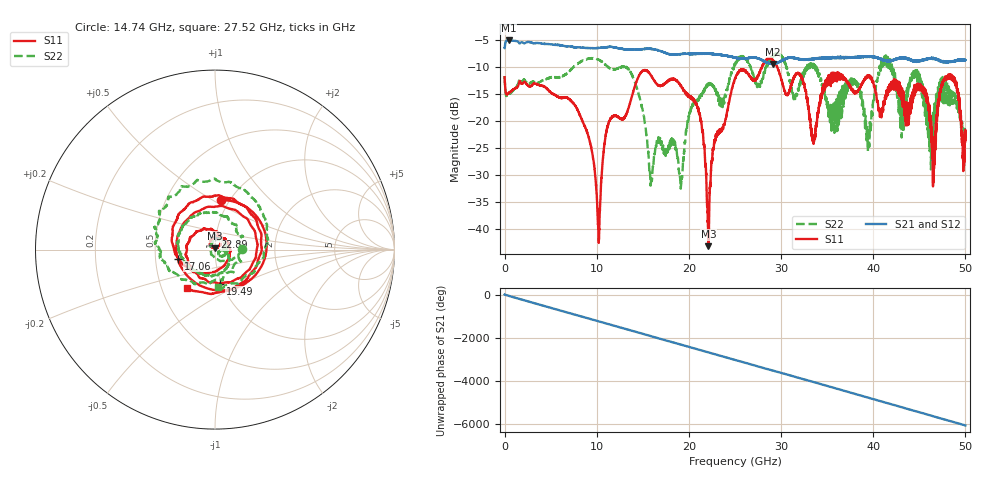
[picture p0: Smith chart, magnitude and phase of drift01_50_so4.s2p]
!Created with skrf (http://scikit-rf.org).
# Hz S RI R 50.0
!freq ReS11 ImS11 ReS21 ImS21 ReS12 ImS12 ReS22 ImS22
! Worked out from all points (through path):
!   10001 points, 300 kHz to 50 GHz, reference 50 ohm
!   highest |S21| = -5.06 dB at 425.3 MHz (marker M1); lowest = -9.4 dB at 29.08 GHz (marker M2)
!   group delay of S21, straight-line fit = 336 ps
!   lowest |S11| = -43.2 dB at 22.12 GHz (marker M3), VSWR 1.01, Z = 49.8 + j0.646 ohm
!   |S11| at or under -10 dB: start of sweep to 27.92 GHz; 29.59 GHz to end of sweep
!   |S22| runs from -32.5 to -7.4 dB; largest |S21 - S12| = 0.013
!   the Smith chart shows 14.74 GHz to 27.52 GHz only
!   S11 on the Smith chart (normalised r, x): 14.74 GHz: 0.92, +0.55; 17.06 GHz: 0.66, -0.07; 19.49 GHz: 0.98, -0.39; 22.89 GHz: 0.99, +0.14; 27.52 GHz: 0.68, -0.31
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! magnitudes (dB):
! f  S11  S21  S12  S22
! 300 kHz  -11.9  -6.5  -6.5  -11.7
! 425.3 MHz  -14.8  -5.1  -5.1  -15.1
! 8.335 GHz  -19.6  -6.4  -6.4  -8.9
! 10.2 GHz  -41.2  -6.5  -6.4  -8.6
! 11.24 GHz  -20.7  -6.3  -6.3  -10.0
! 14.74 GHz  -11.1  -6.7  -6.7  -16.3
! 15.88 GHz  -11.5  -6.6  -6.6  -31.2
! 16.67 GHz  -13.3  -6.9  -6.9  -23.2
! 17.06 GHz  -13.5  -7.1  -7.1  -24.1
! 19.49 GHz  -14.3  -7.6  -7.5  -25.4
! 21.18 GHz  -18.7  -7.5  -7.5  -15.6
! 22.12 GHz  -43.2  -7.5  -7.5  -13.3
! 22.89 GHz  -23.2  -7.6  -7.7  -14.4
! 25 GHz  -12.1  -8.3  -8.3  -9.6
! 27.52 GHz  -11.6  -8.4  -8.4  -13.7
! 29.08 GHz  -8.6  -9.4  -9.4  -8.0
! 33.34 GHz  -22.3  -8.6  -8.5  -9.5
! 39.48 GHz  -11.5  -8.1  -8.1  -21.6
! 41.67 GHz  -13.9  -8.9  -8.8  -9.0
! 46.55 GHz  -25.2  -8.3  -8.3  -19.9
! 48.53 GHz  -11.8  -9.0  -9.0  -14.6
! 50 GHz  -23.5  -8.7  -8.7  -23.6
